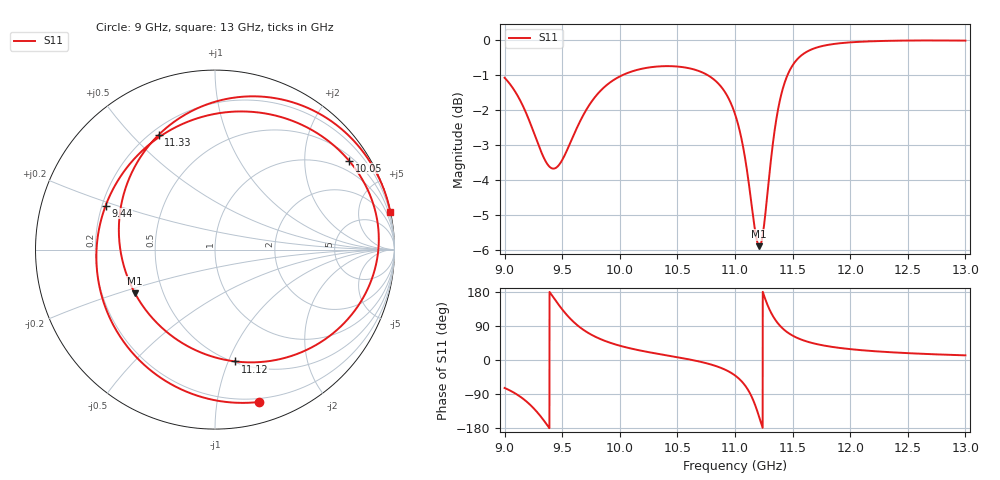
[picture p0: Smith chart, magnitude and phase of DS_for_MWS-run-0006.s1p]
! TOUCHSTONE file generated by CST DESIGN STUDIO
! Date and time: Tue Feb  4 13:35:31 2025
! Project name: C:\Work\MatlabApps\UnitCellOptimizationMatlab\CST\unitcell.cst
! Tree item: Tasks\Sweep1\SPara1\S-Parameters
! Header version: 2024
! Port assignment regex: !\s*Touchstone port\s*([0-9]+)\s*=\s*(CST MWS port|CST DES external port|CST DES block port)\s*(.+)\s* \(\"(.*)\"\)(\s*mode\s*([0-9]+))?.*
! Touchstone port assignment:
! Touchstone port 1 = CST DES external port 1 ("")
# GHz S MA R 50
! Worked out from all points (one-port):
!   4001 points, 9 GHz to 13 GHz, reference 50 ohm
!   lowest |S11| = -5.9 dB at 11.21 GHz (marker M1), VSWR 3.07, Z = 17.2 - j11.3 ohm
!   |S11| at or under -10 dB: nowhere
!   S11 on the Smith chart (normalised r, x): 9 GHz: 0.17, -1.32; 9.44 GHz: 0.21, +0.19; 10.05 GHz: 0.64, +3.20; 11.12 GHz: 0.51, -1.06; 11.33 GHz: 0.23, +0.60; 13 GHz: 0.04, +9.31
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9  0.8841 -73.7
9.125  0.8266 -94.5
9.223  0.7612 -118.5
9.342  0.6786 -160.2
9.44  0.6567 158.0
9.5  0.6746 133.5
9.583  0.7218 105.1
9.676  0.7781 81.3
9.825  0.8446 56.1
10  0.888 37.7
10.052  0.8961 33.6
10.5  0.9174 7.3
10.818  0.8789 -14.3
10.92  0.8399 -26.4
11  0.7847 -40.7
11.059  0.7198 -56.7
11.115  0.6332 -79.7
11.164  0.5494 -110.4
11.211  0.5081 -151.4
11.266  0.5702 157.9
11.329  0.7125 116.1
11.399  0.8335 87.7
11.5  0.921 64.4
11.585  0.9541 52.8
11.689  0.974 43.4
12  0.9933 28.7
12.5  0.9993 18.1
13  0.9991 12.3
